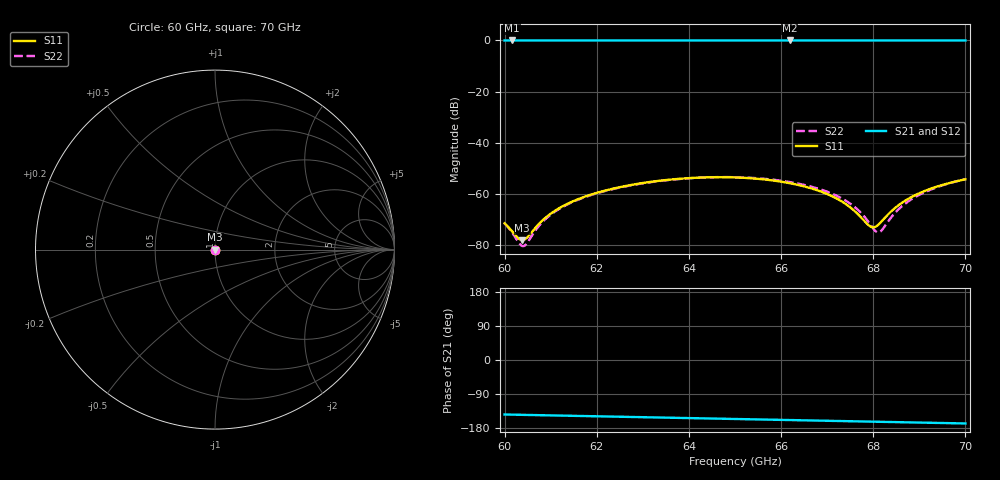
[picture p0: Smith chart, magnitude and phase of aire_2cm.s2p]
! TOUCHSTONE file generated by CST MICROWAVE STUDIO
! Date and time: Tue Feb 27 21:23:42 2024
! Project name: aire_def.cst
! Header version: 2018
! Port assignment regex: !\s*Touchstone port\s*([0-9]+)\s*=\s*(CST MWS port|CST DS port)\s*([0-9]+|Zmin|Zmax)\s*\(\"(.*)\"\)(\s*mode\s*([0-9]+))?.*
! Touchstone port assignment:
! Touchstone port 1 = CST MWS port 1 ("")
! Touchstone port 2 = CST MWS port 2 ("")
# GHz S MA R 376.7
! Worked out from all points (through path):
!   1001 points, 60 GHz to 70 GHz, reference 376.7 ohm
!   highest |S21| = 0.00 dB at 60.16 GHz (marker M1); lowest = 0.0 dB at 66.19 GHz (marker M2)
!   group delay of S21, straight-line fit = 6.58 ps
!   lowest |S11| = -78.0 dB at 60.38 GHz (marker M3), VSWR 1.00, Z = 377 - j0.0504 ohm
!   |S11| at or under -10 dB: start of sweep to end of sweep
!   |S22| runs from -80.4 to -53.4 dB; largest |S21 - S12| = 0.00083
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60  0.0002684 -87.1  1 -143.8  1 -143.8  0.0002664 -36.5
60.16  0.0001878 -101.1  1 -144.2  1 -144.2  0.0001781 -25.1
60.38  0.0001255 -147.8  1 -144.7  1 -144.7  9.667e-05 24.6
60.48  0.000139 -174.7  1 -145.0  1 -145.0  0.0001081 59.8
60.74  0.0002582 149.9  1 -145.6  1 -145.6  0.0002361 98.1
60.99  0.0004073 138.8  1 -146.2  1 -146.2  0.0003889 107.7
61.67  0.000842 129.3  1 -147.8  1 -147.8  0.0008235 114.6
62.42  0.001315 126.0  1 -149.6  1 -149.6  0.001292 116.0
63.34  0.001808 123.9  1 -151.7  1 -151.7  0.001786 115.3
65  0.002109 121.5  0.9999 -155.7  1 -155.7  0.002134 110.3
66.19  0.001628 121.4  0.9992 -158.5  0.9998 -158.5  0.001713 104.2
66.67  0.001279 122.8  0.9996 -159.7  0.9996 -159.6  0.001381 100.8
67.1  0.0009128 126.2  0.9998 -160.7  0.9996 -160.6  0.001021 96.5
67.45  0.0005955 133.6  0.9999 -161.5  0.9996 -161.5  0.0006979 90.6
67.72  0.0003611 149.5  1 -162.1  0.9996 -162.1  0.0004414 80.7
67.96  0.0002274 -169.2  1 -162.7  0.9997 -162.7  0.0002362 54.8
68.13  0.0002611 -128.4  1 -163.1  0.9997 -163.1  0.0001798 5.5
68.34  0.000415 -102.3  1 -163.6  0.9997 -163.6  0.0003052 -41.6
68.61  0.000663 -89.6  1 -164.2  0.9997 -164.2  0.0005651 -59.6
68.96  0.0009985 -83.1  1 -165.0  0.9998 -165.0  0.0009251 -67.6
69.43  0.00144 -79.4  1 -166.1  0.9998 -166.1  0.001405 -72.2
70  0.00194 -77.4  1 -167.5  0.9999 -167.5  0.001959 -75.0
